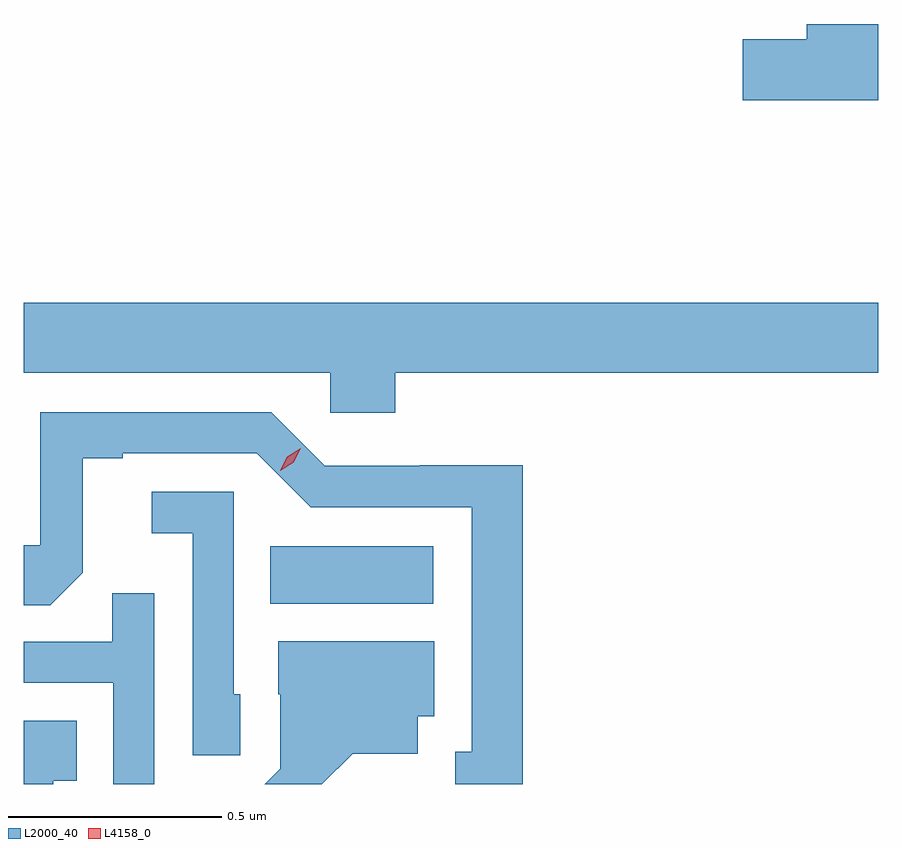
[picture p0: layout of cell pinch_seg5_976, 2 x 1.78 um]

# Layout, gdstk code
import gdstk
lib = gdstk.Library(unit=1e-6, precision=1e-09)
def R(c, l, rs):  # rectangles x0, y0, x1, y1
    for r in rs: c.add(gdstk.rectangle(r[:2], r[2:], *l))
def P(c, l, *ps):  # polygons
    for p in ps: c.add(gdstk.Polygon(p, *l))
L2000_40 = (2000, 40)
L4158_0 = (4158, 0)

pinch_seg5_976 = lib.new_cell('pinch_seg5_976')
R(pinch_seg5_976, L2000_40, [(701.914,885.524,702.295,885.658)])
P(pinch_seg5_976, L2000_40, [(703.337,886.88),(703.169,886.88),(703.169,886.844),(703.02,886.844),(703.02,886.702),(703.337,886.702)],
  [(702.206,886.064),(703.337,886.064),(703.337,886.228),(701.337,886.228),(701.337,886.064),(702.054,886.064),(702.054,885.971),(702.206,885.971)],
  [(702.505,885.848),(702.264,885.848),(702.264,885.846),(702.042,885.846),(701.916,885.972),(701.376,885.972),(701.376,885.66),(701.337,885.66),(701.337,885.52),(701.399,885.52),(701.475,885.596),(701.475,885.864),(701.569,885.864),(701.569,885.876),(701.883,885.876),(702.009,885.75),(702.386,885.75),(702.386,885.177),(702.347,885.177),(702.347,885.102),(702.505,885.102)],
  [(701.844,885.312),(701.829,885.312),(701.829,885.786),(701.637,885.786),(701.637,885.689),(701.733,885.689),(701.733,885.169),(701.844,885.169)],
  [(701.643,885.548),(701.545,885.548),(701.545,885.435),(701.337,885.435),(701.337,885.339),(701.547,885.339),(701.547,885.102),(701.643,885.102)],
  [(702.107,885.173),(702.259,885.173),(702.259,885.26),(702.298,885.26),(702.298,885.436),(701.933,885.436),(701.933,885.312),(701.937,885.312),(701.937,885.138),(701.901,885.102),(702.035,885.102)],
  [(701.406,885.11),(701.462,885.11),(701.462,885.25),(701.337,885.25),(701.337,885.102),(701.406,885.102)])
P(pinch_seg5_976, L4158_0, [(701.937,885.835),(701.937,885.836),(701.954,885.868),(701.985,885.888),(701.986,885.888),(701.986,885.888),(701.969,885.855),(701.937,885.835)])

lib.write_gds('pinch_seg5_976.gds')
